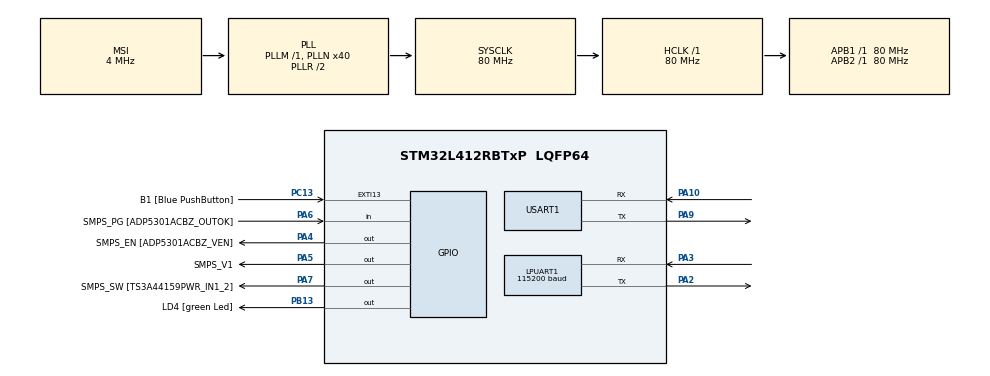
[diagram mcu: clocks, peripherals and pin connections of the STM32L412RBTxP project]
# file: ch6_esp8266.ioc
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LPUART1.BaudRate=115200
LPUART1.WordLength=UART_WORDLENGTH_8B
Mcu.Family=STM32L4
Mcu.Name=STM32L412RBTxP
Mcu.Package=LQFP64
NVIC.PriorityGroup=NVIC_PRIORITYGROUP_4
NVIC.USART1_IRQn=true\:0\:0\:false\:true\:true\:1\:true\:true\:true
PA10.Mode=Asynchronous
PA10.Signal=USART1_RX
PA13\ (JTMS/SWDIO).GPIO_Label=TMS
PA13\ (JTMS/SWDIO).Mode=Serial_Wire
PA13\ (JTMS/SWDIO).Signal=SYS_JTMS-SWDIO
PA14\ (JTCK/SWCLK).GPIO_Label=TCK
PA14\ (JTCK/SWCLK).Mode=Serial_Wire
PA14\ (JTCK/SWCLK).Signal=SYS_JTCK-SWCLK
PA2.Mode=Asynchronous
PA2.Signal=LPUART1_TX
PA3.Mode=Asynchronous
PA3.Signal=LPUART1_RX
PA4.GPIO_Label=SMPS_EN [ADP5301ACBZ_VEN]
PA4.Signal=GPIO_Output
PA5.GPIO_Label=SMPS_V1
PA5.GPIO_ModeDefaultOutputPP=GPIO_MODE_OUTPUT_PP
PA5.GPIO_PuPd=GPIO_NOPULL
PA5.GPIO_Speed=GPIO_SPEED_FREQ_LOW
PA5.Signal=GPIO_Output
PA6.GPIO_Label=SMPS_PG [ADP5301ACBZ_OUTOK]
PA6.GPIO_PuPd=GPIO_PULLUP
PA6.Signal=GPIO_Input
PA7.GPIO_Label=SMPS_SW [TS3A44159PWR_IN1_2]
PA7.Signal=GPIO_Output
PA9.Mode=Asynchronous
PA9.Signal=USART1_TX
PB13.GPIO_Label=LD4 [green Led]
PB13.Signal=GPIO_Output
PB3\ (JTDO/TRACESWO).GPIO_Label=SWO
PB3\ (JTDO/TRACESWO).Signal=SYS_JTDO-SWO
PC13.GPIO_Label=B1 [Blue PushButton]
PC13.GPIO_ModeDefaultEXTI=GPIO_MODE_IT_FALLING
PC13.GPIO_PuPd=GPIO_NOPULL
PC13.Signal=GPXTI13
PC14-OSC32_IN\ (PC14).Mode=LSE-External-Oscillator
PC14-OSC32_IN\ (PC14).Signal=RCC_OSC32_IN
PC15-OSC32_OUT\ (PC15).Mode=LSE-External-Oscillator
PC15-OSC32_OUT\ (PC15).Signal=RCC_OSC32_OUT
PH0-OSC_IN\ (PH0).GPIO_Label=MCO
PH0-OSC_IN\ (PH0).Mode=HSE-External-Clock-Source
PH0-OSC_IN\ (PH0).Signal=RCC_OSC_IN
PH1-OSC_OUT\ (PH1).Signal=RCC_OSC_OUT
ProjectManager.HeapSize=0x200
ProjectManager.StackSize=0x400
ProjectManager.TargetToolchain=STM32CubeIDE
RCC.ADCFreq_Value=80000000
RCC.AHBFreq_Value=80000000
RCC.APB1Freq_Value=80000000
RCC.APB1TimFreq_Value=80000000
RCC.APB2Freq_Value=80000000
RCC.APB2TimFreq_Value=80000000
RCC.CortexFreq_Value=80000000
RCC.FLatency=FLASH_LATENCY_4
RCC.HCLKFreq_Value=80000000
RCC.HSE_VALUE=8000000
RCC.HSI48_VALUE=48000000
RCC.HSICalibrationValue=64
RCC.HSI_VALUE=16000000
RCC.MSIAutoCalibration=DISABLED
RCC.MSI_VALUE=4000000
RCC.PLLN=40
RCC.PREFETCH_ENABLE=1
RCC.SYSCLKFreq_VALUE=80000000
RCC.SYSCLKSource=RCC_SYSCLKSOURCE_PLLCLK
RCC.USBFreq_Value=4000000
RCC.VCOOutputFreq_Value=160000000
USART1.VirtualMode-Asynchronous=VM_ASYNC
board=NUCLEO-L412RB-P

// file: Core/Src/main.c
/* USER CODE BEGIN Header */
/**
  ******************************************************************************
  * @file           : main.c
  * @brief          : Main program body
  ******************************************************************************
  * @attention
  *
  * Copyright (c) 2026 STMicroelectronics.
  * All rights reserved.
  *
  * This software is licensed under terms that can be found in the LICENSE file
  * in the root directory of this software component.
  * If no LICENSE file comes with this software, it is provided AS-IS.
  *
  ******************************************************************************
  */
/* USER CODE END Header */
#include "main.h"

/* USER CODE BEGIN Includes */
#include "esp8266.h"
#include "printf.h"

/* USER CODE END Includes */

UART_HandleTypeDef hlpuart1;
UART_HandleTypeDef huart1;

/* USER CODE BEGIN PV */

// 링버퍼 관련 -> 변수들 선언하기
#define RING_SIZE 100
uint8_t ring_buf[RING_SIZE];

//main에서만 사용
bool esp8266_state = true;

/* USER CODE END PV */

void SystemClock_Config(void);
static void MX_GPIO_Init(void);
static void MX_LPUART1_UART_Init(void);
static void MX_USART1_UART_Init(void);
static void MX_NVIC_Init(void);

int main(void)
{

  /* MCU Configuration--------------------------------------------------------*/

  /* Reset of all peripherals, Initializes the Flash interface and the Systick. */
  HAL_Init();

  /* Configure the system clock */
  SystemClock_Config();

  /* Initialize all configured peripherals */
  MX_GPIO_Init();
  MX_LPUART1_UART_Init();
  MX_USART1_UART_Init();

  /* Initialize interrupts */
  MX_NVIC_Init();
  /* USER CODE BEGIN 2 */

  printf("LPUART printf test \r\n");

  ring_init(&rx_ring_esp, RING_SIZE, ring_buf);
  init_esp8266();

  HAL_UART_Receive_IT(&huart1, &rx_data_esp, 1);
  /* USER CODE END 2 */

  /* Infinite loop */
  while (1)
  {

    /* USER CODE BEGIN 3 */
    recv_data_task();

    // 함수의 return값 대입 T/F
    esp8266_state = esp_8266_control();
    // 기존 esp8266_state와 &&연산하며, check_connection() 함수 사용
    esp8266_state = (check_connection()&&esp8266_state);

    //-> ISR로도 가능한지 확인하기
    // 함수의 return값 false면 초기화 루틴 시작
    if (esp8266_state == false){
      ring_init(&rx_ring_esp, RING_SIZE, ring_buf);
      init_esp8266();

      esp8266_state = true;
    }

    // // test용 함수
    // test_task();
  }
  /* USER CODE END 3 */
}

void SystemClock_Config(void)
{
  RCC_OscInitTypeDef RCC_OscInitStruct = {0};
  RCC_ClkInitTypeDef RCC_ClkInitStruct = {0};

  /** Configure the main internal regulator output voltage
  */
  if (HAL_PWREx_ControlVoltageScaling(PWR_REGULATOR_VOLTAGE_SCALE1) != HAL_OK)
  {
    Error_Handler();
  }

  /** Initializes the RCC Oscillators according to the specified parameters
  * in the RCC_OscInitTypeDef structure.
  */
  RCC_OscInitStruct.OscillatorType = RCC_OSCILLATORTYPE_MSI;
  RCC_OscInitStruct.MSIState = RCC_MSI_ON;
  RCC_OscInitStruct.MSICalibrationValue = 0;
  RCC_OscInitStruct.MSIClockRange = RCC_MSIRANGE_6;
  RCC_OscInitStruct.PLL.PLLState = RCC_PLL_ON;
  RCC_OscInitStruct.PLL.PLLSource = RCC_PLLSOURCE_MSI;
  RCC_OscInitStruct.PLL.PLLM = 1;
  RCC_OscInitStruct.PLL.PLLN = 40;
  RCC_OscInitStruct.PLL.PLLQ = RCC_PLLQ_DIV2;
  RCC_OscInitStruct.PLL.PLLR = RCC_PLLR_DIV2;
  if (HAL_RCC_OscConfig(&RCC_OscInitStruct) != HAL_OK)
  {
    Error_Handler();
  }

  /** Initializes the CPU, AHB and APB buses clocks
  */
  RCC_ClkInitStruct.ClockType = RCC_CLOCKTYPE_HCLK|RCC_CLOCKTYPE_SYSCLK
                              |RCC_CLOCKTYPE_PCLK1|RCC_CLOCKTYPE_PCLK2;
  RCC_ClkInitStruct.SYSCLKSource = RCC_SYSCLKSOURCE_PLLCLK;
  RCC_ClkInitStruct.AHBCLKDivider = RCC_SYSCLK_DIV1;
  RCC_ClkInitStruct.APB1CLKDivider = RCC_HCLK_DIV1;
  RCC_ClkInitStruct.APB2CLKDivider = RCC_HCLK_DIV1;

  if (HAL_RCC_ClockConfig(&RCC_ClkInitStruct, FLASH_LATENCY_4) != HAL_OK)
  {
    Error_Handler();
  }
}

/**
  * @brief NVIC Configuration.
  * @retval None
  */
static void MX_NVIC_Init(void)
{
  /* USART1_IRQn interrupt configuration */
  HAL_NVIC_SetPriority(USART1_IRQn, 0, 0);
  HAL_NVIC_EnableIRQ(USART1_IRQn);
}

static void MX_LPUART1_UART_Init(void)
{

  hlpuart1.Instance = LPUART1;
  hlpuart1.Init.BaudRate = 115200;
  hlpuart1.Init.WordLength = UART_WORDLENGTH_8B;
  hlpuart1.Init.StopBits = UART_STOPBITS_1;
  hlpuart1.Init.Parity = UART_PARITY_NONE;
  hlpuart1.Init.Mode = UART_MODE_TX_RX;
  hlpuart1.Init.HwFlowCtl = UART_HWCONTROL_NONE;
  hlpuart1.Init.OneBitSampling = UART_ONE_BIT_SAMPLE_DISABLE;
  hlpuart1.AdvancedInit.AdvFeatureInit = UART_ADVFEATURE_NO_INIT;
  if (HAL_UART_Init(&hlpuart1) != HAL_OK)
  {
    Error_Handler();
  }

}

static void MX_USART1_UART_Init(void)
{

  huart1.Instance = USART1;
  huart1.Init.BaudRate = 115200;
  huart1.Init.WordLength = UART_WORDLENGTH_8B;
  huart1.Init.StopBits = UART_STOPBITS_1;
  huart1.Init.Parity = UART_PARITY_NONE;
  huart1.Init.Mode = UART_MODE_TX_RX;
  huart1.Init.HwFlowCtl = UART_HWCONTROL_NONE;
  huart1.Init.OverSampling = UART_OVERSAMPLING_16;
  huart1.Init.OneBitSampling = UART_ONE_BIT_SAMPLE_DISABLE;
  huart1.AdvancedInit.AdvFeatureInit = UART_ADVFEATURE_NO_INIT;
  if (HAL_UART_Init(&huart1) != HAL_OK)
  {
    Error_Handler();
  }

}

static void MX_GPIO_Init(void)
{
  GPIO_InitTypeDef GPIO_InitStruct = {0};

  /* GPIO Ports Clock Enable */
  __HAL_RCC_GPIOC_CLK_ENABLE();
  __HAL_RCC_GPIOH_CLK_ENABLE();
  __HAL_RCC_GPIOA_CLK_ENABLE();
  __HAL_RCC_GPIOB_CLK_ENABLE();

  /*Configure GPIO pin Output Level */
  HAL_GPIO_WritePin(GPIOA, SMPS_EN_Pin|SMPS_V1_Pin|SMPS_SW_Pin, GPIO_PIN_RESET);

  /*Configure GPIO pin Output Level */
  HAL_GPIO_WritePin(LD4_GPIO_Port, LD4_Pin, GPIO_PIN_RESET);

  /*Configure GPIO pin : B1_Pin */
  GPIO_InitStruct.Pin = B1_Pin;
  GPIO_InitStruct.Mode = GPIO_MODE_IT_FALLING;
  GPIO_InitStruct.Pull = GPIO_NOPULL;
  HAL_GPIO_Init(B1_GPIO_Port, &GPIO_InitStruct);

  /*Configure GPIO pins : SMPS_EN_Pin SMPS_V1_Pin SMPS_SW_Pin */
  GPIO_InitStruct.Pin = SMPS_EN_Pin|SMPS_V1_Pin|SMPS_SW_Pin;
  GPIO_InitStruct.Mode = GPIO_MODE_OUTPUT_PP;
  GPIO_InitStruct.Pull = GPIO_NOPULL;
  GPIO_InitStruct.Speed = GPIO_SPEED_FREQ_LOW;
  HAL_GPIO_Init(GPIOA, &GPIO_InitStruct);

  /*Configure GPIO pin : SMPS_PG_Pin */
  GPIO_InitStruct.Pin = SMPS_PG_Pin;
  GPIO_InitStruct.Mode = GPIO_MODE_INPUT;
  GPIO_InitStruct.Pull = GPIO_PULLUP;
  HAL_GPIO_Init(SMPS_PG_GPIO_Port, &GPIO_InitStruct);

  /*Configure GPIO pin : LD4_Pin */
  GPIO_InitStruct.Pin = LD4_Pin;
  GPIO_InitStruct.Mode = GPIO_MODE_OUTPUT_PP;
  GPIO_InitStruct.Pull = GPIO_NOPULL;
  GPIO_InitStruct.Speed = GPIO_SPEED_FREQ_LOW;
  HAL_GPIO_Init(LD4_GPIO_Port, &GPIO_InitStruct);

}

/* USER CODE BEGIN 4 */
void HAL_UART_RxCpltCallback(UART_HandleTypeDef *huart) {
  if (huart->Instance == USART1) {
    // rx 데이터 존재하는 상태

    enqueue(&rx_ring_esp, &rx_data_esp);

    HAL_UART_Receive_IT(&huart1, &rx_data_esp, 1);
  }
}
/* USER CODE END 4 */

void Error_Handler(void)
{
  __disable_irq();
  while (1)
  {
  }
}
